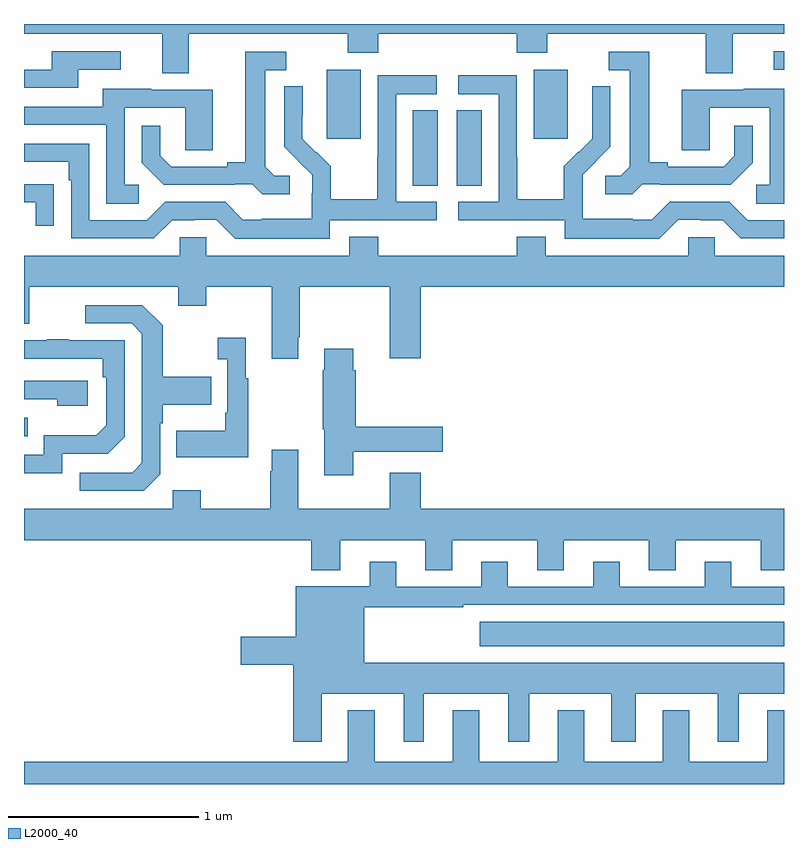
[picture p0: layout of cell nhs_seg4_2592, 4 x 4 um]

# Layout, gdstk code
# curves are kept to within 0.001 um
import gdstk
lib = gdstk.Library(unit=1e-6, precision=1e-09)
def R(c, l, rs):  # rectangles x0, y0, x1, y1
    for r in rs: c.add(gdstk.rectangle(r[:2], r[2:], *l))
def P(c, l, *ps):  # polygons
    for p in ps: c.add(gdstk.Polygon(p, *l))
L2000_40 = (2000, 40)

nhs_seg4_2592 = lib.new_cell('nhs_seg4_2592')
R(nhs_seg4_2592, L2000_40, [(249.399,765.626,251,765.754), (247,766.731,247.019,766.827), (249.047,768.049,249.178,768.446), (249.278,768.049,249.409,768.446), (248.594,768.297,248.773,768.658), (249.683,768.297,249.862,768.658), (250.947,768.66,251,768.756)])
P(nhs_seg4_2592, L2000_40, [(247.867,768.848),(248.704,768.848),(248.704,768.749),(248.864,768.749),(248.864,768.848),(249.593,768.848),(249.593,768.749),(249.753,768.749),(249.753,768.848),(250.589,768.848),(250.589,768.64),(250.729,768.64),(250.729,768.848),(251,768.848),(251,768.9),(247,768.9),(247,768.848),(247.727,768.848),(247.727,768.64),(247.867,768.64)],
  [(247.285,768.66),(247.51,768.66),(247.51,768.756),(247.145,768.756),(247.145,768.66),(247,768.66),(247,768.564),(247.285,768.564)],
  [(248.398,768.102),(248.316,768.102),(248.269,768.149),(248.269,768.657),(248.38,768.657),(248.38,768.753),(248.165,768.753),(248.165,768.173),(248.069,768.173),(248.069,768.15),(247.774,768.15),(247.717,768.207),(247.717,768.364),(247.62,768.364),(247.62,768.17),(247.736,768.054),(248.108,768.054),(248.108,768.057),(248.202,768.057),(248.254,768.005),(248.398,768.005)],
  [(250.254,768.057),(250.348,768.057),(250.348,768.054),(250.72,768.054),(250.836,768.17),(250.836,768.364),(250.739,768.364),(250.739,768.207),(250.682,768.15),(250.387,768.15),(250.387,768.173),(250.291,768.173),(250.291,768.753),(250.077,768.753),(250.077,768.657),(250.187,768.657),(250.187,768.149),(250.14,768.102),(250.059,768.102),(250.059,768.005),(250.202,768.005)],
  [(250.443,767.871),(250.559,767.871),(250.559,767.868),(250.677,767.868),(250.773,767.772),(251,767.772),(251,767.868),(250.809,767.868),(250.713,767.964),(250.398,767.964),(250.305,767.871),(250.205,767.871),(250.205,767.875),(249.942,767.875),(249.942,768.009),(249.94,768.009),(249.94,768.106),(250.086,768.254),(250.086,768.572),(249.99,768.572),(249.99,768.418),(249.992,768.418),(249.992,768.296),(249.921,768.225),(249.918,768.228),(249.841,768.151),(249.841,767.977),(249.597,767.977),(249.597,768.2),(249.594,768.2),(249.594,768.63),(249.285,768.63),(249.285,768.531),(249.498,768.531),(249.498,767.964),(249.285,767.964),(249.285,767.868),(249.846,767.868),(249.846,767.771),(250.343,767.771)],
  [(248.61,767.868),(249.172,767.868),(249.172,767.964),(248.958,767.964),(248.958,768.531),(249.172,768.531),(249.172,768.63),(248.862,768.63),(248.862,768.2),(248.86,768.2),(248.86,767.977),(248.615,767.977),(248.615,768.151),(248.538,768.228),(248.535,768.225),(248.465,768.296),(248.466,768.572),(248.37,768.572),(248.37,768.254),(248.516,768.106),(248.516,768.009),(248.514,768.009),(248.514,767.875),(248.251,767.875),(248.251,767.871),(248.151,767.871),(248.058,767.964),(247.743,767.964),(247.647,767.868),(247.344,767.868),(247.344,768.27),(247,768.27),(247,768.174),(247.235,768.174),(247.235,768.077),(247.248,768.077),(247.248,767.772),(247.683,767.772),(247.779,767.868),(247.898,767.868),(247.898,767.871),(248.013,767.871),(248.113,767.771),(248.61,767.771)],
  [(247.603,768.054),(247.53,768.054),(247.53,768.459),(247.848,768.459),(247.848,768.235),(247.993,768.235),(247.993,768.555),(247.669,768.555),(247.669,768.559),(247.415,768.559),(247.415,768.465),(247,768.465),(247,768.369),(247.434,768.369),(247.434,767.953),(247.603,767.953)],
  [(251,768.559),(250.787,768.559),(250.787,768.555),(250.463,768.555),(250.463,768.235),(250.608,768.235),(250.608,768.459),(250.926,768.459),(250.926,768.054),(250.854,768.054),(250.854,767.953),(251,767.953)],
  [(247.157,768.056),(247.055,768.056),(247.055,768.057),(247,768.057),(247,767.961),(247.061,767.961),(247.061,767.838),(247.157,767.838)],
  [(248.443,767.251),(248.451,767.251),(248.451,767.516),(248.924,767.516),(248.924,767.142),(249.088,767.142),(249.088,767.516),(251,767.516),(251,767.68),(250.635,767.68),(250.635,767.778),(250.497,767.778),(250.497,767.68),(249.745,767.68),(249.745,767.779),(249.593,767.779),(249.593,767.68),(248.864,767.68),(248.864,767.779),(248.711,767.779),(248.711,767.68),(247.959,767.68),(247.959,767.778),(247.821,767.778),(247.821,767.68),(247,767.68),(247,767.322),(247.027,767.322),(247.027,767.516),(247.811,767.516),(247.811,767.417),(247.959,767.417),(247.959,767.516),(248.303,767.516),(248.303,767.139),(248.443,767.139)],
  [(247.716,766.53),(247.716,766.799),(247.729,766.799),(247.729,766.895),(247.985,766.895),(247.985,767.043),(247.729,767.043),(247.729,767.315),(247.623,767.421),(247.323,767.421),(247.323,767.325),(247.566,767.325),(247.62,767.271),(247.62,766.59),(247.569,766.539),(247.293,766.539),(247.293,766.443),(247.629,766.443)],
  [(248.179,767.035),(248.167,767.035),(248.167,767.248),(248.019,767.248),(248.019,767.135),(248.07,767.135),(248.07,766.855),(248.058,766.855),(248.058,766.759),(247.801,766.759),(247.801,766.619),(248.179,766.619)],
  [(247.2,766.638),(247.44,766.638),(247.53,766.728),(247.53,767.235),(247.235,767.235),(247.235,767.24),(247.123,767.24),(247.123,767.235),(247,767.235),(247,767.139),(247.414,767.139),(247.414,767.042),(247.434,767.042),(247.434,766.788),(247.381,766.735),(247.104,766.735),(247.104,766.632),(247,766.632),(247,766.536),(247.2,766.536)],
  [(248.734,766.649),(249.205,766.649),(249.205,766.779),(248.747,766.779),(248.747,767.078),(248.734,767.078),(248.734,767.191),(248.579,767.191),(248.579,767.078),(248.572,767.078),(248.572,766.767),(248.579,766.767),(248.579,766.524),(248.734,766.524)],
  [(247.336,767.022),(247,767.022),(247,766.926),(247.175,766.926),(247.175,766.892),(247.336,766.892)],
  [(249.088,766.537),(248.924,766.537),(248.924,766.348),(248.443,766.348),(248.443,766.66),(248.303,766.66),(248.303,766.547),(248.296,766.547),(248.296,766.348),(247.929,766.348),(247.929,766.447),(247.782,766.447),(247.782,766.348),(247,766.348),(247,766.184),(248.513,766.184),(248.513,766.025),(248.665,766.025),(248.665,766.184),(249.113,766.184),(249.113,766.024),(249.253,766.024),(249.253,766.184),(249.701,766.184),(249.701,766.024),(249.841,766.024),(249.841,766.184),(250.289,766.184),(250.289,766.024),(250.429,766.024),(250.429,766.184),(250.877,766.184),(250.877,766.024),(251,766.024),(251,766.348),(249.088,766.348)],
  [(248.566,765.374),(248.999,765.374),(248.999,765.123),(249.103,765.123),(249.103,765.374),(249.548,765.374),(249.548,765.123),(249.658,765.123),(249.658,765.374),(250.091,765.374),(250.091,765.123),(250.219,765.123),(250.219,765.374),(250.652,765.374),(250.652,765.123),(250.762,765.123),(250.762,765.374),(251,765.374),(251,765.538),(248.791,765.538),(248.791,765.831),(249.311,765.831),(249.311,765.843),(251,765.843),(251,765.939),(250.723,765.939),(250.723,766.069),(250.583,766.069),(250.583,765.939),(250.135,765.939),(250.135,766.069),(249.995,766.069),(249.995,765.939),(249.547,765.939),(249.547,766.069),(249.407,766.069),(249.407,765.939),(248.959,765.939),(248.959,766.069),(248.819,766.069),(248.819,765.94),(248.429,765.94),(248.429,765.674),(248.142,765.674),(248.142,765.527),(248.417,765.527),(248.417,765.123),(248.566,765.123)],
  [(251,765.289),(250.913,765.289),(250.913,765.016),(250.501,765.016),(250.501,765.289),(250.361,765.289),(250.361,765.016),(249.949,765.016),(249.949,765.289),(249.809,765.289),(249.809,765.016),(249.397,765.016),(249.397,765.289),(249.257,765.289),(249.257,765.016),(248.845,765.016),(248.845,765.289),(248.705,765.289),(248.705,765.016),(247,765.016),(247,764.9),(251,764.9)])

lib.write_gds('nhs_seg4_2592.gds')
